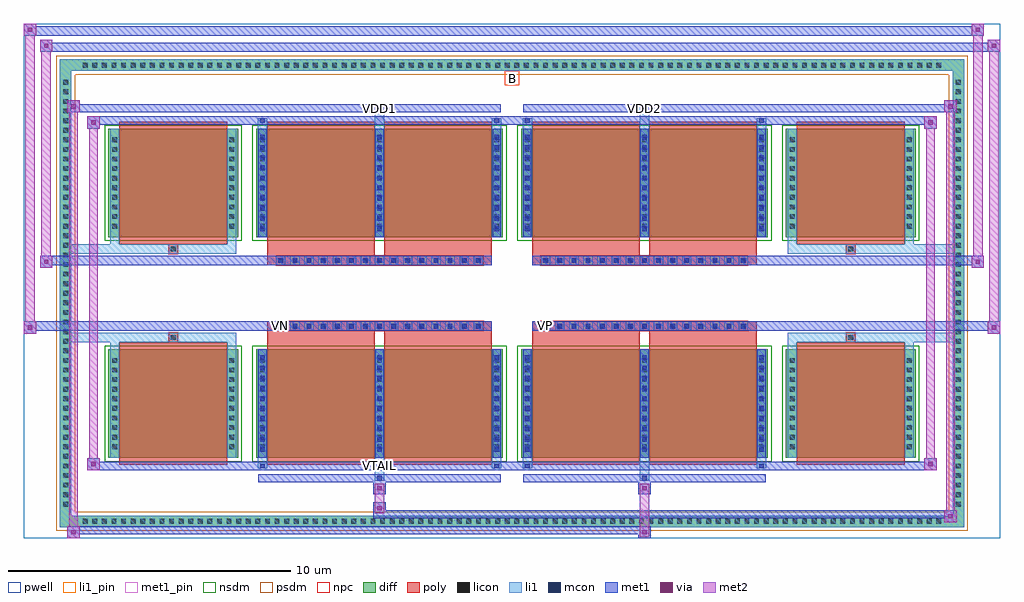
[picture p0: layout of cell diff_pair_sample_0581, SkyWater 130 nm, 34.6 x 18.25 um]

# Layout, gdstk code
import gdstk
lib = gdstk.Library(unit=1e-6, precision=5e-09)
def R(c, l, rs):  # rectangles x0, y0, x1, y1
    for r in rs: c.add(gdstk.rectangle(r[:2], r[2:], *l))
def A(c, l, x, y, w, h, nx, ny, dx, dy):  # array of equal rectangles
    R(c, l, [(x+i*dx, y+j*dy, x+i*dx+w, y+j*dy+h) for i in range(nx) for j in range(ny)])
def P(c, l, *ps):  # polygons
    for p in ps: c.add(gdstk.Polygon(p, *l))
pwell = (64, 44)
diff = (65, 20)
poly = (66, 20)
licon = (66, 44)
li1_pin = (67, 16)
li1 = (67, 20)
mcon = (67, 44)
met1_pin = (68, 16)
met1 = (68, 20)
via = (68, 44)
met2 = (69, 20)
nsdm = (93, 44)
psdm = (94, 20)
npc = (95, 20)

diff_pair_sample_0581 = lib.new_cell('diff_pair_sample_0581')
R(diff_pair_sample_0581, pwell, [(-17.3,-8.69,17.3,9.56), (-14.62,-6.88,-0.01,-0.8), (0.01,-6.88,14.62,-0.8), (-14.62,0.8,-0.01,6.88), (0.01,0.8,14.62,6.88)])
A(diff_pair_sample_0581, diff, -15.335, -8.29, 0.41, 0.41, 90, 2, 0.34, 16.17)
A(diff_pair_sample_0581, diff, -16.03, -7.685, 0.41, 0.41, 1, 45, 0, 0.34)
A(diff_pair_sample_0581, diff, 15.62, -7.685, 0.41, 0.41, 1, 45, 0, 0.34)
R(diff_pair_sample_0581, diff, [(-15.335,-8.29,15.335,-7.88), (-16.03,-7.685,-15.62,7.685), (15.62,-7.685,16.03,7.685), (-14.31,-5.835,-9.71,-1.985), (-9.07,-5.835,-0.32,-1.985), (0.32,-5.835,9.07,-1.985), (9.71,-5.835,14.31,-1.985), (-14.31,1.985,-9.71,5.835), (-9.07,1.985,-0.32,5.835), (0.32,1.985,9.07,5.835), (9.71,1.985,14.31,5.835), (-15.335,7.88,15.335,8.29)])
P(diff_pair_sample_0581, diff, [(16.03,8.29),(-16.03,8.29),(-16.03,-7.88),(-15.62,-7.88),(-15.62,7.88),(15.62,7.88),(15.62,-7.88),(-15.62,-7.88),(-16.03,-7.88),(-16.03,-8.29),(16.03,-8.29)])
A(diff_pair_sample_0581, poly, -8.36, -1.33, 0.33, 0.33, 15, 2, 0.5, 2.33)
A(diff_pair_sample_0581, poly, 1.03, -1.33, 0.33, 0.33, 15, 2, 0.5, 2.33)
R(diff_pair_sample_0581, poly, [(-13.92,-6.085,-10.1,-1.735), (-8.68,-6.085,-4.86,-1.735), (-4.53,-6.085,-0.71,-1.735), (0.71,-6.085,4.53,-1.735), (4.86,-6.085,8.68,-1.735), (10.1,-6.085,13.92,-1.735), (-12.175,-1.735,-11.845,-1.405), (-12.175,-1.735,-11.845,-1.405), (-8.68,-1.735,-4.86,-1.33), (-4.53,-1.735,-0.71,-1.33), (0.71,-1.735,4.53,-1.33), (4.86,-1.735,8.68,-1.33), (11.845,-1.735,12.175,-1.405), (11.845,-1.735,12.175,-1.405), (-8.68,-1.33,-0.71,-1), (0.71,-1.33,8.68,-1), (-8.68,1,-0.71,1.33), (0.71,1,8.68,1.33), (-8.68,1.33,-4.86,1.735), (-4.53,1.33,-0.71,1.735), (0.71,1.33,4.53,1.735), (4.86,1.33,8.68,1.735), (-12.175,1.405,-11.845,1.735), (-12.175,1.405,-11.845,1.735), (11.845,1.405,12.175,1.735), (11.845,1.405,12.175,1.735), (-13.92,1.735,-10.1,6.085), (-8.68,1.735,-4.86,6.085), (-4.53,1.735,-0.71,6.085), (0.71,1.735,4.53,6.085), (4.86,1.735,8.68,6.085), (10.1,1.735,13.92,6.085)])
A(diff_pair_sample_0581, licon, -15.215, -8.17, 0.17, 0.17, 90, 2, 0.34, 16.17)
A(diff_pair_sample_0581, licon, -15.91, -7.565, 0.17, 0.17, 1, 45, 0, 0.34)
A(diff_pair_sample_0581, licon, 15.74, -7.565, 0.17, 0.17, 1, 45, 0, 0.34)
A(diff_pair_sample_0581, licon, -14.17, -5.525, 0.17, 0.17, 1, 10, 0, 0.34)
A(diff_pair_sample_0581, licon, -10.02, -5.525, 0.17, 0.17, 1, 10, 0, 0.34)
A(diff_pair_sample_0581, licon, -8.93, -5.525, 0.17, 0.17, 3, 10, 4.15, 0.34)
A(diff_pair_sample_0581, licon, 0.46, -5.525, 0.17, 0.17, 3, 10, 4.15, 0.34)
A(diff_pair_sample_0581, licon, 9.85, -5.525, 0.17, 0.17, 1, 10, 0, 0.34)
A(diff_pair_sample_0581, licon, 14, -5.525, 0.17, 0.17, 1, 10, 0, 0.34)
A(diff_pair_sample_0581, licon, -8.28, -1.25, 0.17, 0.17, 15, 2, 0.5, 2.33)
A(diff_pair_sample_0581, licon, 1.11, -1.25, 0.17, 0.17, 15, 2, 0.5, 2.33)
A(diff_pair_sample_0581, licon, -14.17, 2.295, 0.17, 0.17, 1, 10, 0, 0.34)
A(diff_pair_sample_0581, licon, -10.02, 2.295, 0.17, 0.17, 1, 10, 0, 0.34)
A(diff_pair_sample_0581, licon, -8.93, 2.295, 0.17, 0.17, 3, 10, 4.15, 0.34)
A(diff_pair_sample_0581, licon, 0.46, 2.295, 0.17, 0.17, 3, 10, 4.15, 0.34)
A(diff_pair_sample_0581, licon, 9.85, 2.295, 0.17, 0.17, 1, 10, 0, 0.34)
A(diff_pair_sample_0581, licon, 14, 2.295, 0.17, 0.17, 1, 10, 0, 0.34)
R(diff_pair_sample_0581, licon, [(-12.095,-1.655,-11.925,-1.485), (11.925,-1.655,12.095,-1.485), (-12.095,1.485,-11.925,1.655), (11.925,1.485,12.095,1.655)])
R(diff_pair_sample_0581, li1_pin, [(-0.25,7.38,0.25,7.88)])
A(diff_pair_sample_0581, li1, -15.295, -8.25, 0.33, 0.33, 90, 2, 0.34, 16.17)
A(diff_pair_sample_0581, li1, -15.99, -7.645, 0.33, 0.33, 1, 45, 0, 0.34)
A(diff_pair_sample_0581, li1, 15.66, -7.645, 0.33, 0.33, 1, 45, 0, 0.34)
A(diff_pair_sample_0581, li1, -9.01, -5.835, 0.33, 3.85, 3, 2, 4.15, 7.82)
A(diff_pair_sample_0581, li1, 0.38, -5.835, 0.33, 3.85, 3, 2, 4.15, 7.82)
A(diff_pair_sample_0581, li1, -8.93, -5.615, 0.17, 0.17, 3, 10, 4.15, 0.36)
A(diff_pair_sample_0581, li1, -8.93, -5.615, 0.17, 3.41, 3, 2, 4.15, 7.82)
A(diff_pair_sample_0581, li1, 0.46, -5.615, 0.17, 0.17, 3, 10, 4.15, 0.36)
A(diff_pair_sample_0581, li1, 0.46, -5.615, 0.17, 3.41, 3, 2, 4.15, 7.82)
A(diff_pair_sample_0581, li1, -14.25, -5.605, 0.33, 0.33, 1, 10, 0, 0.34)
A(diff_pair_sample_0581, li1, -10.1, -5.605, 0.33, 0.33, 1, 10, 0, 0.34)
A(diff_pair_sample_0581, li1, -9.01, -5.605, 0.33, 0.33, 3, 10, 4.15, 0.34)
A(diff_pair_sample_0581, li1, 0.38, -5.605, 0.33, 0.33, 3, 10, 4.15, 0.34)
A(diff_pair_sample_0581, li1, 9.77, -5.605, 0.33, 0.33, 1, 10, 0, 0.34)
A(diff_pair_sample_0581, li1, 13.92, -5.605, 0.33, 0.33, 1, 10, 0, 0.34)
A(diff_pair_sample_0581, li1, -8.36, -1.33, 0.33, 0.33, 15, 2, 0.5, 2.33)
A(diff_pair_sample_0581, li1, 1.03, -1.33, 0.33, 0.33, 15, 2, 0.5, 2.33)
A(diff_pair_sample_0581, li1, -8.93, 2.205, 0.17, 0.17, 3, 10, 4.15, 0.36)
A(diff_pair_sample_0581, li1, 0.46, 2.205, 0.17, 0.17, 3, 10, 4.15, 0.36)
A(diff_pair_sample_0581, li1, -14.25, 2.215, 0.33, 0.33, 1, 10, 0, 0.34)
A(diff_pair_sample_0581, li1, -10.1, 2.215, 0.33, 0.33, 1, 10, 0, 0.34)
A(diff_pair_sample_0581, li1, -9.01, 2.215, 0.33, 0.33, 3, 10, 4.15, 0.34)
A(diff_pair_sample_0581, li1, 0.38, 2.215, 0.33, 0.33, 3, 10, 4.15, 0.34)
A(diff_pair_sample_0581, li1, 9.77, 2.215, 0.33, 0.33, 1, 10, 0, 0.34)
A(diff_pair_sample_0581, li1, 13.92, 2.215, 0.33, 0.33, 1, 10, 0, 0.34)
R(diff_pair_sample_0581, li1, [(-16.03,-8.29,-15.62,-7.88), (-16.03,-8.29,-15.62,-7.88), (-15.62,-8.29,15.62,-7.88), (15.62,-8.29,16.03,-7.88), (15.62,-8.29,16.03,-7.88), (-16.03,-7.88,-15.62,7.88), (15.62,-7.88,16.03,7.88), (-4.86,-6.64,-4.53,-5.835), (-4.78,-6.64,-4.61,-6.47), (4.53,-6.64,4.86,-5.835), (4.61,-6.64,4.78,-6.47), (-9.01,-6.21,-8.68,-5.835), (-8.93,-6.21,-8.76,-6.04), (-0.71,-6.21,-0.38,-5.835), (-0.63,-6.21,-0.46,-6.04), (0.38,-6.21,0.71,-5.835), (0.46,-6.21,0.63,-6.04), (8.68,-6.21,9.01,-5.835), (8.76,-6.21,8.93,-6.04), (-14.25,-5.835,-13.92,-1.985), (-10.1,-5.835,-9.77,-1.985), (9.77,-5.835,10.1,-1.985), (13.92,-5.835,14.25,-1.985), (-14.25,-1.985,-13.92,-1.405), (-10.1,-1.985,-9.77,-1.405), (9.77,-1.985,10.1,-1.405), (13.92,-1.985,14.25,-1.405), (-16.03,-1.735,-12.175,-1.405), (-14.25,-1.735,-12.175,-1.405), (-12.175,-1.735,-11.845,-1.405), (-11.845,-1.735,-9.77,-1.405), (9.77,-1.735,11.845,-1.405), (11.845,-1.735,12.175,-1.405), (11.845,-1.735,16.03,-1.405), (12.175,-1.735,14.25,-1.405), (-16.03,1.405,-12.175,1.735), (-14.25,1.405,-12.175,1.735), (-14.25,1.405,-13.92,1.985), (-12.175,1.405,-11.845,1.735), (-11.845,1.405,-9.77,1.735), (-10.1,1.405,-9.77,1.985), (9.77,1.405,11.845,1.735), (9.77,1.405,10.1,1.985), (11.845,1.405,12.175,1.735), (11.845,1.405,16.03,1.735), (12.175,1.405,14.25,1.735), (13.92,1.405,14.25,1.985), (-14.25,1.985,-13.92,5.835), (-10.1,1.985,-9.77,5.835), (9.77,1.985,10.1,5.835), (13.92,1.985,14.25,5.835), (-9.01,5.835,-8.68,6.21), (-4.86,5.835,-4.53,6.64), (-0.71,5.835,-0.38,6.21), (0.38,5.835,0.71,6.21), (4.53,5.835,4.86,6.64), (8.68,5.835,9.01,6.21), (-8.93,6.04,-8.76,6.21), (-0.63,6.04,-0.46,6.21), (0.46,6.04,0.63,6.21), (8.76,6.04,8.93,6.21), (-4.78,6.47,-4.61,6.64), (4.61,6.47,4.78,6.64), (-16.03,7.88,-15.62,8.29), (-16.03,7.88,-15.62,8.29), (-15.62,7.88,15.62,8.29), (15.62,7.88,16.03,8.29), (15.62,7.88,16.03,8.29)])
A(diff_pair_sample_0581, mcon, -8.93, -5.615, 0.17, 0.17, 3, 10, 4.15, 0.36)
A(diff_pair_sample_0581, mcon, 0.46, -5.615, 0.17, 0.17, 3, 10, 4.15, 0.36)
A(diff_pair_sample_0581, mcon, -8.28, -1.25, 0.17, 0.17, 15, 2, 0.5, 2.33)
A(diff_pair_sample_0581, mcon, 1.11, -1.25, 0.17, 0.17, 15, 2, 0.5, 2.33)
A(diff_pair_sample_0581, mcon, -8.93, 2.205, 0.17, 0.17, 3, 10, 4.15, 0.36)
A(diff_pair_sample_0581, mcon, 0.46, 2.205, 0.17, 0.17, 3, 10, 4.15, 0.36)
R(diff_pair_sample_0581, mcon, [(-4.78,-6.64,-4.61,-6.47), (4.61,-6.64,4.78,-6.47), (-8.93,-6.21,-8.76,-6.04), (-0.63,-6.21,-0.46,-6.04), (0.46,-6.21,0.63,-6.04), (8.76,-6.21,8.93,-6.04), (-8.93,6.04,-8.76,6.21), (-0.63,6.04,-0.46,6.21), (0.46,6.04,0.63,6.21), (8.76,6.04,8.93,6.21), (-4.78,6.47,-4.61,6.64), (4.61,6.47,4.78,6.64)])
R(diff_pair_sample_0581, met1_pin, [(-4.83,-6.25,-4.56,-5.98), (-8.33,-1.29,-8.06,-1.02), (1.06,-1.29,1.33,-1.02), (-4.83,6.43,-4.56,6.7), (4.56,6.43,4.83,6.7)])
A(diff_pair_sample_0581, met1, -8.99, -5.835, 0.29, 3.85, 3, 2, 4.15, 7.82)
A(diff_pair_sample_0581, met1, 0.4, -5.835, 0.29, 3.85, 3, 2, 4.15, 7.82)
A(diff_pair_sample_0581, met1, -8.99, -5.675, 0.29, 0.29, 3, 10, 4.15, 0.36)
A(diff_pair_sample_0581, met1, 0.4, -5.675, 0.29, 0.29, 3, 10, 4.15, 0.36)
A(diff_pair_sample_0581, met1, -8.34, -1.31, 0.29, 0.29, 15, 2, 0.5, 2.33)
A(diff_pair_sample_0581, met1, 1.05, -1.31, 0.29, 0.29, 15, 2, 0.5, 2.33)
A(diff_pair_sample_0581, met1, -8.99, 2.145, 0.29, 0.29, 3, 10, 4.15, 0.36)
A(diff_pair_sample_0581, met1, 0.4, 2.145, 0.29, 0.29, 3, 10, 4.15, 0.36)
R(diff_pair_sample_0581, met1, [(-15.76,-8.69,-15.33,-8.26), (4.48,-8.69,4.91,-8.26), (-15.76,-8.55,4.91,-8.26), (15.33,-8.12,15.76,-7.69), (-4.91,-7.98,15.76,-7.69), (-4.91,-7.84,-4.48,-7.41), (-4.91,-7.13,-4.48,-6.7), (4.48,-7.13,4.91,-6.7), (-8.99,-6.7,-0.4,-6.41), (-4.84,-6.7,-4.55,-6.41), (0.4,-6.7,8.99,-6.41), (4.55,-6.7,4.84,-6.41), (-15.05,-6.27,-14.62,-5.84), (-15.05,-6.27,-8.99,-5.98), (-8.99,-6.27,-8.7,-5.98), (-8.99,-6.27,-0.4,-5.98), (-0.69,-6.27,-0.4,-5.98), (-0.4,-6.27,0.4,-5.98), (0.4,-6.27,0.69,-5.98), (0.4,-6.27,8.99,-5.98), (8.7,-6.27,8.99,-5.98), (8.99,-6.27,15.05,-5.98), (14.62,-6.27,15.05,-5.84), (-17.3,-1.43,-16.87,-1), (16.87,-1.43,17.3,-1), (-17.3,-1.33,-0.71,-1), (-8.68,-1.33,-0.71,-1), (0.71,-1.33,8.68,-1), (0.71,-1.33,17.3,-1), (-16.73,0.9,-16.3,1.33), (16.3,0.9,16.73,1.33), (-16.73,1,-8.68,1.33), (-8.68,1,-0.71,1.33), (0.71,1,8.68,1.33), (8.68,1,16.73,1.33), (-15.05,5.84,-14.62,6.27), (14.62,5.84,15.05,6.27), (-15.05,5.98,-8.99,6.27), (-8.99,5.98,-8.7,6.27), (-8.99,5.98,-0.4,6.27), (-0.69,5.98,-0.4,6.27), (-0.4,5.98,0.4,6.27), (0.4,5.98,0.69,6.27), (0.4,5.98,8.99,6.27), (8.7,5.98,8.99,6.27), (8.99,5.98,15.05,6.27), (-15.76,6.41,-15.33,6.84), (-15.76,6.41,-8.99,6.7), (-8.99,6.41,-0.4,6.7), (-4.84,6.41,-4.55,6.7), (0.4,6.41,8.99,6.7), (4.55,6.41,4.84,6.7), (8.99,6.41,15.76,6.7), (15.33,6.41,15.76,6.84), (-16.73,8.56,-16.3,8.99), (-16.73,8.56,-14.62,8.89), (-14.62,8.56,14.62,8.89), (14.62,8.56,17.3,8.89), (16.87,8.56,17.3,8.99), (-17.3,9.13,-16.87,9.56), (-17.3,9.13,-14.62,9.46), (-14.62,9.13,14.62,9.46), (14.62,9.13,16.73,9.46), (16.3,9.13,16.73,9.56)])
R(diff_pair_sample_0581, via, [(-15.62,-8.55,-15.47,-8.4), (4.62,-8.55,4.77,-8.4), (15.47,-7.98,15.62,-7.83), (-4.77,-7.7,-4.62,-7.55), (-4.77,-6.99,-4.62,-6.84), (4.62,-6.99,4.77,-6.84), (-14.91,-6.13,-14.76,-5.98), (14.76,-6.13,14.91,-5.98), (-17.16,-1.29,-17.01,-1.14), (17.01,-1.29,17.16,-1.14), (-16.59,1.04,-16.44,1.19), (16.44,1.04,16.59,1.19), (-14.91,5.98,-14.76,6.13), (14.76,5.98,14.91,6.13), (-15.62,6.55,-15.47,6.7), (15.47,6.55,15.62,6.7), (-16.59,8.7,-16.44,8.85), (17.01,8.7,17.16,8.85), (-17.16,9.27,-17.01,9.42), (16.44,9.27,16.59,9.42)])
R(diff_pair_sample_0581, met2, [(-15.76,-8.69,-15.33,-8.26), (-15.69,-8.69,-15.4,6.84), (-15.4,-8.69,-15.33,-8.26), (-15.71,-8.64,-15.38,-8.31), (4.53,-8.64,4.86,-8.31), (4.53,-8.31,4.86,-7.08), (15.33,-8.12,15.76,-7.69), (15.4,-8.12,15.69,6.84), (15.69,-8.12,15.76,-7.69), (15.38,-8.07,15.71,-7.74), (-4.86,-7.79,-4.53,-7.46), (-4.86,-7.46,-4.53,-7.08), (-4.86,-7.08,-4.53,-6.75), (4.53,-7.08,4.86,-6.75), (-15.05,-6.27,-14.62,-5.84), (-14.98,-6.27,-14.69,6.27), (-14.69,-6.27,-14.62,-5.84), (14.62,-6.27,15.05,-5.84), (14.69,-6.27,14.98,6.27), (14.98,-6.27,15.05,-5.84), (-15,-6.22,-14.67,-5.89), (14.67,-6.22,15,-5.89), (-17.3,-1.43,-16.87,-1), (-17.25,-1.43,-16.92,9.56), (-16.92,-1.43,-16.87,-1), (16.87,-1.43,17.3,-1), (16.92,-1.43,17.25,8.99), (17.25,-1.43,17.3,-1), (-17.25,-1.38,-16.92,-1.05), (16.92,-1.38,17.25,-1.05), (-16.73,0.9,-16.3,1.33), (-16.68,0.9,-16.35,8.99), (-16.35,0.9,-16.3,1.33), (16.3,0.9,16.73,1.33), (16.35,0.9,16.68,9.56), (16.68,0.9,16.73,1.33), (-16.68,0.95,-16.35,1.28), (16.35,0.95,16.68,1.28), (-15.05,5.84,-14.62,6.27), (-14.69,5.84,-14.62,6.27), (14.62,5.84,15.05,6.27), (14.98,5.84,15.05,6.27), (-15,5.89,-14.67,6.22), (14.67,5.89,15,6.22), (-15.76,6.41,-15.33,6.84), (-15.4,6.41,-15.33,6.84), (15.33,6.41,15.76,6.84), (15.69,6.41,15.76,6.84), (-15.71,6.46,-15.38,6.79), (15.38,6.46,15.71,6.79), (-16.73,8.56,-16.3,8.99), (-16.35,8.56,-16.3,8.99), (16.87,8.56,17.3,8.99), (17.25,8.56,17.3,8.99), (-16.68,8.61,-16.35,8.94), (16.92,8.61,17.25,8.94), (-17.3,9.13,-16.87,9.56), (-16.92,9.13,-16.87,9.56), (16.3,9.13,16.73,9.56), (16.68,9.13,16.73,9.56), (-17.25,9.18,-16.92,9.51), (16.35,9.18,16.68,9.51)])
R(diff_pair_sample_0581, nsdm, [(-14.44,-5.965,-9.58,-1.855), (-9.2,-5.965,-0.19,-1.855), (0.19,-5.965,9.2,-1.855), (9.58,-5.965,14.44,-1.855), (-14.44,1.855,-9.58,5.965), (-9.2,1.855,-0.19,5.965), (0.19,1.855,9.2,5.965), (9.58,1.855,14.44,5.965)])
P(diff_pair_sample_0581, psdm, [(16.16,8.42),(-16.16,8.42),(-16.16,-7.75),(-15.49,-7.75),(-15.49,7.75),(15.49,7.75),(15.49,-7.75),(-15.49,-7.75),(-16.16,-7.75),(-16.16,-8.42),(16.16,-8.42)])
A(diff_pair_sample_0581, npc, -8.38, -1.35, 0.37, 0.37, 15, 2, 0.5, 2.33)
A(diff_pair_sample_0581, npc, 1.01, -1.35, 0.37, 0.37, 15, 2, 0.5, 2.33)
R(diff_pair_sample_0581, npc, [(-12.195,-1.755,-11.825,-1.385), (11.825,-1.755,12.195,-1.385), (-8.38,-1.35,-7.51,-0.98), (-8.38,-1.35,-7.51,-0.98), (-7.88,-1.35,-7.01,-0.98), (-7.88,-1.35,-7.01,-0.98), (-7.38,-1.35,-6.51,-0.98), (-7.38,-1.35,-6.51,-0.98), (-6.88,-1.35,-6.01,-0.98), (-6.88,-1.35,-6.01,-0.98), (-6.38,-1.35,-5.51,-0.98), (-6.38,-1.35,-5.51,-0.98), (-5.88,-1.35,-5.01,-0.98), (-5.88,-1.35,-5.01,-0.98), (-5.38,-1.35,-4.51,-0.98), (-5.38,-1.35,-4.51,-0.98), (-4.88,-1.35,-4.01,-0.98), (-4.88,-1.35,-4.01,-0.98), (-4.38,-1.35,-3.51,-0.98), (-4.38,-1.35,-3.51,-0.98), (-3.88,-1.35,-3.01,-0.98), (-3.88,-1.35,-3.01,-0.98), (-3.38,-1.35,-2.51,-0.98), (-3.38,-1.35,-2.51,-0.98), (-2.88,-1.35,-2.01,-0.98), (-2.88,-1.35,-2.01,-0.98), (-2.38,-1.35,-1.51,-0.98), (-2.38,-1.35,-1.51,-0.98), (-1.88,-1.35,-1.01,-0.98), (-1.88,-1.35,-1.01,-0.98), (1.01,-1.35,1.88,-0.98), (1.01,-1.35,1.88,-0.98), (1.51,-1.35,2.38,-0.98), (1.51,-1.35,2.38,-0.98), (2.01,-1.35,2.88,-0.98), (2.01,-1.35,2.88,-0.98), (2.51,-1.35,3.38,-0.98), (2.51,-1.35,3.38,-0.98), (3.01,-1.35,3.88,-0.98), (3.01,-1.35,3.88,-0.98), (3.51,-1.35,4.38,-0.98), (3.51,-1.35,4.38,-0.98), (4.01,-1.35,4.88,-0.98), (4.01,-1.35,4.88,-0.98), (4.51,-1.35,5.38,-0.98), (4.51,-1.35,5.38,-0.98), (5.01,-1.35,5.88,-0.98), (5.01,-1.35,5.88,-0.98), (5.51,-1.35,6.38,-0.98), (5.51,-1.35,6.38,-0.98), (6.01,-1.35,6.88,-0.98), (6.01,-1.35,6.88,-0.98), (6.51,-1.35,7.38,-0.98), (6.51,-1.35,7.38,-0.98), (7.01,-1.35,7.88,-0.98), (7.01,-1.35,7.88,-0.98), (7.51,-1.35,8.38,-0.98), (7.51,-1.35,8.38,-0.98), (-8.38,0.98,-7.51,1.35), (-8.38,0.98,-7.51,1.35), (-7.88,0.98,-7.01,1.35), (-7.88,0.98,-7.01,1.35), (-7.38,0.98,-6.51,1.35), (-7.38,0.98,-6.51,1.35), (-6.88,0.98,-6.01,1.35), (-6.88,0.98,-6.01,1.35), (-6.38,0.98,-5.51,1.35), (-6.38,0.98,-5.51,1.35), (-5.88,0.98,-5.01,1.35), (-5.88,0.98,-5.01,1.35), (-5.38,0.98,-4.51,1.35), (-5.38,0.98,-4.51,1.35), (-4.88,0.98,-4.01,1.35), (-4.88,0.98,-4.01,1.35), (-4.38,0.98,-3.51,1.35), (-4.38,0.98,-3.51,1.35), (-3.88,0.98,-3.01,1.35), (-3.88,0.98,-3.01,1.35), (-3.38,0.98,-2.51,1.35), (-3.38,0.98,-2.51,1.35), (-2.88,0.98,-2.01,1.35), (-2.88,0.98,-2.01,1.35), (-2.38,0.98,-1.51,1.35), (-2.38,0.98,-1.51,1.35), (-1.88,0.98,-1.01,1.35), (-1.88,0.98,-1.01,1.35), (1.01,0.98,1.88,1.35), (1.01,0.98,1.88,1.35), (1.51,0.98,2.38,1.35), (1.51,0.98,2.38,1.35), (2.01,0.98,2.88,1.35), (2.01,0.98,2.88,1.35), (2.51,0.98,3.38,1.35), (2.51,0.98,3.38,1.35), (3.01,0.98,3.88,1.35), (3.01,0.98,3.88,1.35), (3.51,0.98,4.38,1.35), (3.51,0.98,4.38,1.35), (4.01,0.98,4.88,1.35), (4.01,0.98,4.88,1.35), (4.51,0.98,5.38,1.35), (4.51,0.98,5.38,1.35), (5.01,0.98,5.88,1.35), (5.01,0.98,5.88,1.35), (5.51,0.98,6.38,1.35), (5.51,0.98,6.38,1.35), (6.01,0.98,6.88,1.35), (6.01,0.98,6.88,1.35), (6.51,0.98,7.38,1.35), (6.51,0.98,7.38,1.35), (7.01,0.98,7.88,1.35), (7.01,0.98,7.88,1.35), (7.51,0.98,8.38,1.35), (7.51,0.98,8.38,1.35), (-12.195,1.385,-11.825,1.755), (11.825,1.385,12.195,1.755)])
diff_pair_sample_0581.add(gdstk.Label('VTAIL', (-4.695,-6.115), layer=68, texttype=5))
diff_pair_sample_0581.add(gdstk.Label('VN', (-8.195,-1.155), layer=68, texttype=5))
diff_pair_sample_0581.add(gdstk.Label('VP', (1.195,-1.155), layer=68, texttype=5))
diff_pair_sample_0581.add(gdstk.Label('B', (0,7.63), layer=67, texttype=5))
diff_pair_sample_0581.add(gdstk.Label('VDD2', (4.695,6.565), layer=68, texttype=5))
diff_pair_sample_0581.add(gdstk.Label('VDD1', (-4.695,6.565), layer=68, texttype=5))

lib.write_gds('diff_pair_sample_0581.gds')
